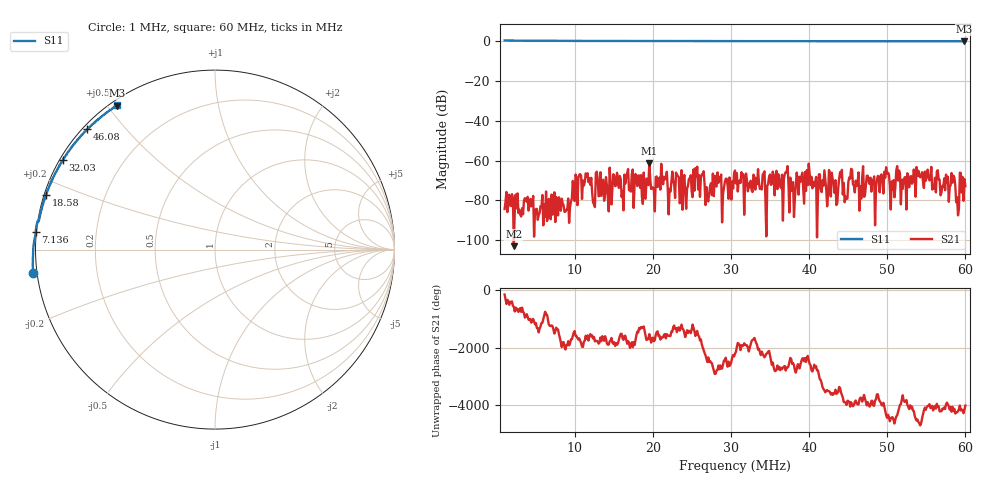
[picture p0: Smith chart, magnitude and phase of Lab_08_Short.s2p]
!Keysight Technologies,P9371A,MY57213205,A.13.10.05
!Date: Wednesday, April 16, 2025 09:59:58
!Correction: S11(Off)
!S21(Off)
!S12(Off)
!S22(Off)
!S2P File: Measurements: S11, S21, S12, S22:
# Hz S  RI  R 50
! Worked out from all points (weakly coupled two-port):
!   501 points, 1 MHz to 60 MHz, reference 50 ohm
!   highest |S21| = -61.47 dB at 19.53 MHz (marker M1); lowest = -102.9 dB at 2.18 MHz (marker M2)
!   lowest |S11| = -0.3 dB at 59.88 MHz (marker M3), VSWR 66.57, Z = 0.962 + j26.5 ohm
!   |S11| at or under -10 dB: nowhere
!   S12 and S22 are empty: the file has one direction only
!   S11 on the Smith chart (normalised r, x): 1 MHz: -0.01, -0.06; 7.136 MHz: -0.00, +0.05; 18.58 MHz: 0.01, +0.16; 32.03 MHz: 0.01, +0.27; 46.08 MHz: 0.01, +0.40; 60 MHz: 0.02, +0.53
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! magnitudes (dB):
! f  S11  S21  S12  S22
! 1 MHz  0.2  -84.3  -  -
! 2.18 MHz  0.1  -102.9  -  -
! 7.136 MHz  0.0  -87.1  -  -
! 10.91 MHz  0.0  -79.2  -  -
! 18.58 MHz  -0.1  -78.1  -  -
! 19.53 MHz  -0.1  -61.5  -  -
! 20.71 MHz  -0.1  -71.6  -  -
! 24.01 MHz  -0.1  -67.2  -  -
! 25.43 MHz  -0.1  -63.8  -  -
! 26.96 MHz  -0.1  -78.8  -  -
! 30.5 MHz  -0.1  -65.0  -  -
! 32.03 MHz  -0.2  -70.1  -  -
! 40.41 MHz  -0.2  -73.9  -  -
! 42.77 MHz  -0.2  -78.0  -  -
! 43.48 MHz  -0.2  -82.3  -  -
! 43.95 MHz  -0.2  -65.8  -  -
! 44.66 MHz  -0.2  -78.0  -  -
! 45.25 MHz  -0.2  -69.1  -  -
! 46.08 MHz  -0.2  -72.7  -  -
! 50.21 MHz  -0.2  -66.9  -  -
! 59.88 MHz  -0.3  -69.3  -  -
! 60 MHz  -0.3  -72.8  -  -
